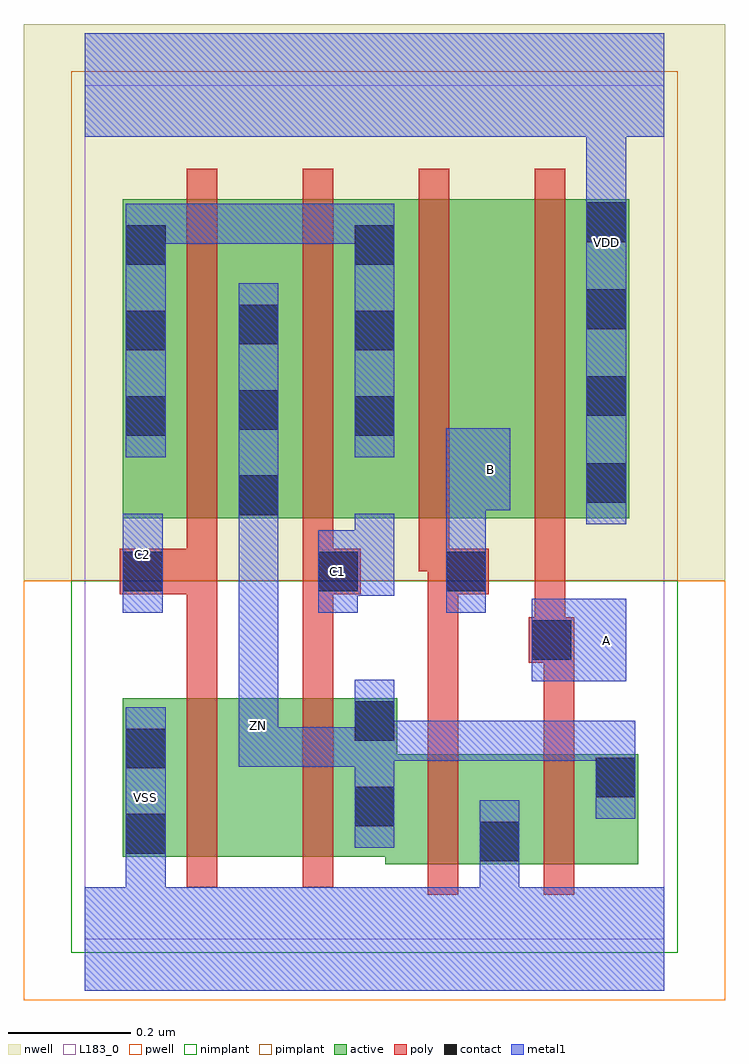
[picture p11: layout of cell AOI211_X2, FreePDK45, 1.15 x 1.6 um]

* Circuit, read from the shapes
.subckt AOI211_X2 A B C1 C2 VDD VSS ZN
M1 n1 C2 VSS VSUBS nfet w=0.26u l=0.05u
M2 ZN C1 n1 VSUBS nfet w=0.26u l=0.05u
M3 VSS B ZN VSUBS nfet w=0.18u l=0.05u
M4 ZN A VSS VSUBS nfet w=0.18u l=0.05u
M5 ZN C2 n2 n3 pfet w=0.5225u l=0.05u
M6 n2 C1 ZN n3 pfet w=0.5225u l=0.05u
M7 n4 B n2 n3 pfet w=0.5225u l=0.05u
M8 VDD A n4 n3 pfet w=0.5225u l=0.05u
.ends

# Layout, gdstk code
import gdstk
lib = gdstk.Library(unit=1e-6, precision=1e-10)
def R(c, l, rs):  # rectangles x0, y0, x1, y1
    for r in rs: c.add(gdstk.rectangle(r[:2], r[2:], *l))
def A(c, l, x, y, w, h, nx, ny, dx, dy):  # array of equal rectangles
    R(c, l, [(x+i*dx, y+j*dy, x+i*dx+w, y+j*dy+h) for i in range(nx) for j in range(ny)])
def P(c, l, *ps):  # polygons
    for p in ps: c.add(gdstk.Polygon(p, *l))
active = (1, 0)
pwell = (2, 0)
nwell = (3, 0)
nimplant = (4, 0)
pimplant = (5, 0)
poly = (9, 0)
contact = (10, 0)
metal1 = (11, 0)
L183_0 = (183, 0)

aoi211_x2 = lib.new_cell('AOI211_X2')
R(aoi211_x2, active, [(0.0625,0.69,0.8925,1.2125)])
P(aoi211_x2, active, [(0.0625,0.135),(0.4925,0.135),(0.4925,0.1225),(0.9075,0.1225),(0.9075,0.3025),(0.5125,0.3025),(0.5125,0.395),(0.0625,0.395)])
R(aoi211_x2, pwell, [(-0.1,-0.1,1.05,0.5875)])
R(aoi211_x2, nwell, [(-0.1,0.5875,1.05,1.5)])
R(aoi211_x2, nimplant, [(-0.0225,-0.0225,0.9725,0.5875)])
R(aoi211_x2, pimplant, [(-0.0225,0.5875,0.9725,1.4225)])
P(aoi211_x2, poly, [(0.0575,0.565),(0.1675,0.565),(0.1675,0.085),(0.2175,0.085),(0.2175,1.2625),(0.1675,1.2625),(0.1675,0.64),(0.0575,0.64)],
  [(0.3575,0.085),(0.4075,0.085),(0.4075,0.565),(0.4525,0.565),(0.4525,0.64),(0.4075,0.64),(0.4075,1.2625),(0.3575,1.2625)],
  [(0.5475,0.6025),(0.5625,0.6025),(0.5625,0.0725),(0.6125,0.0725),(0.6125,0.565),(0.6625,0.565),(0.6625,0.64),(0.5975,0.64),(0.5975,1.2625),(0.5475,1.2625)],
  [(0.7275,0.4525),(0.7525,0.4525),(0.7525,0.0725),(0.8025,0.0725),(0.8025,0.5275),(0.7875,0.5275),(0.7875,1.2625),(0.7375,1.2625),(0.7375,0.5275),(0.7275,0.5275)])
A(aoi211_x2, contact, 0.2525, 0.695, 0.065, 0.065, 1, 3, 0, 0.14)
A(aoi211_x2, contact, 0.8225, 0.715, 0.065, 0.065, 1, 4, 0, 0.1425)
A(aoi211_x2, contact, 0.0675, 0.825, 0.065, 0.065, 1, 3, 0, 0.14)
A(aoi211_x2, contact, 0.4425, 0.825, 0.065, 0.065, 1, 3, 0, 0.14)
R(aoi211_x2, contact, [(0.6475,0.1275,0.7125,0.1925), (0.0675,0.14,0.1325,0.205), (0.4425,0.185,0.5075,0.25), (0.8375,0.2325,0.9025,0.2975), (0.0675,0.28,0.1325,0.345), (0.4425,0.325,0.5075,0.39), (0.7325,0.4575,0.7975,0.5225), (0.0625,0.57,0.1275,0.635), (0.3825,0.57,0.4475,0.635), (0.5925,0.57,0.6575,0.635)])
R(aoi211_x2, metal1, [(0.7325,0.4225,0.8875,0.5575), (0.0625,0.535,0.1275,0.6975)])
P(aoi211_x2, metal1, [(0.0675,0.79),(0.1325,0.79),(0.1325,1.14),(0.4425,1.14),(0.4425,0.79),(0.5075,0.79),(0.5075,1.14),(0.5075,1.205),(0.4425,1.205),(0.1325,1.205),(0.0675,1.205),(0.0675,1.14)],
  [(0.5925,0.535),(0.6575,0.535),(0.6575,0.7025),(0.6975,0.7025),(0.6975,0.8375),(0.5925,0.8375)],
  [(0.2525,0.2825),(0.4425,0.2825),(0.4425,0.15),(0.5075,0.15),(0.5075,0.2925),(0.8375,0.2925),(0.8375,0.1975),(0.9025,0.1975),(0.9025,0.3575),(0.5075,0.3575),(0.5075,0.425),(0.4425,0.425),(0.4425,0.3475),(0.3175,0.3475),(0.3175,1.075),(0.2525,1.075)],
  [(0,-0.085),(0.95,-0.085),(0.95,0.085),(0.7125,0.085),(0.7125,0.2275),(0.6475,0.2275),(0.6475,0.085),(0.1325,0.085),(0.1325,0.38),(0.0675,0.38),(0.0675,0.085),(0,0.085)],
  [(0,1.315),(0.8225,1.315),(0.8225,0.68),(0.8875,0.68),(0.8875,1.315),(0.95,1.315),(0.95,1.485),(0,1.485)],
  [(0.3825,0.535),(0.4475,0.535),(0.4475,0.5625),(0.5075,0.5625),(0.5075,0.6975),(0.4425,0.6975),(0.4425,0.67),(0.3825,0.67)])
R(aoi211_x2, L183_0, [(0,0,0.95,1.4)])
aoi211_x2.add(gdstk.Label('A', (0.855,0.49), layer=11, texttype=0))
aoi211_x2.add(gdstk.Label('B', (0.665,0.77), layer=11, texttype=0))
aoi211_x2.add(gdstk.Label('C1', (0.415,0.6025), layer=11, texttype=0))
aoi211_x2.add(gdstk.Label('C2', (0.095,0.63), layer=11, texttype=0))
aoi211_x2.add(gdstk.Label('VDD', (0.855,1.1412), layer=11, texttype=0))
aoi211_x2.add(gdstk.Label('VSS', (0.1,0.2325), layer=11, texttype=0))
aoi211_x2.add(gdstk.Label('ZN', (0.285,0.35), layer=11, texttype=0))

lib.write_gds('AOI211_X2.gds')
